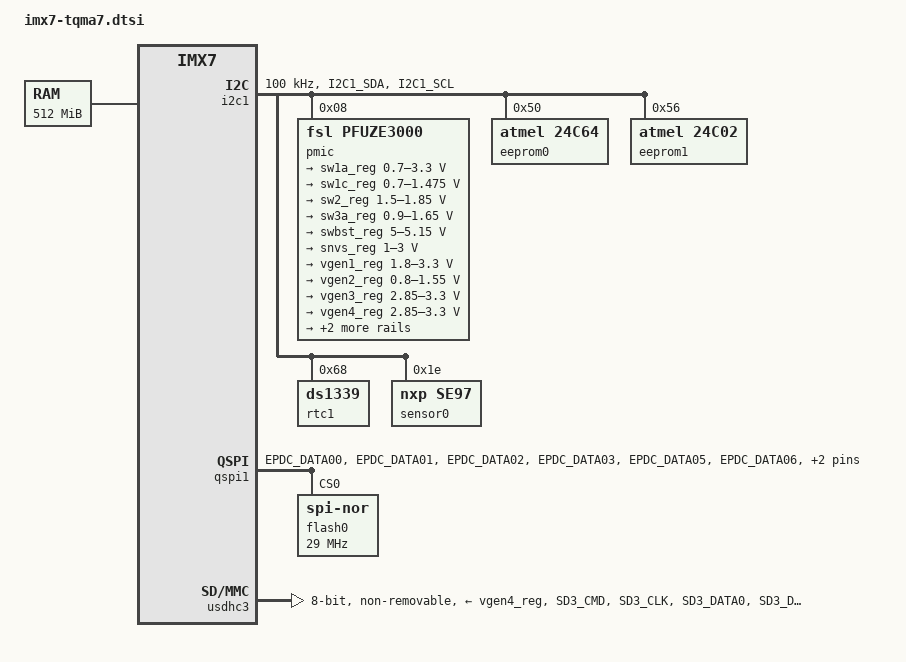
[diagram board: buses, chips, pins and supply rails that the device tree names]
// SPDX-License-Identifier: GPL-2.0+ OR MIT
/*
 * Copyright (C) 2016 - 2019 TQ Systems GmbH
 * Author: Markus Niebel <Markus.Niebel@tq-group.com>
 */

/ {
	memory {
		reg = <0x80000000 0x20000000>;
	};

	reserved-memory {
		/* global autoconfigured region for contiguous allocations */
		linux,cma {
			size = <0x04000000>;
		};
	};
};

&cpu0 {
	arm-supply = <&sw1a_reg>;
};

&i2c1 {
	pinctrl-names = "default";
	pinctrl-0 = <&pinctrl_i2c1>;
	clock-frequency = <100000>;
	status = "okay";

	pmic: pfuze3000@08 {
		pinctrl-names = "default";
		pinctrl-0 = <&pinctrl_pmic1>;
		compatible = "fsl,pfuze3000";
		reg = <0x08>;

		regulators {
			sw1a_reg: sw1a {
				regulator-min-microvolt = <700000>;
				regulator-max-microvolt = <3300000>;
				regulator-boot-on;
				regulator-always-on;
				regulator-ramp-delay = <6250>;
			};

			/* use sw1c_reg to align with pfuze100/pfuze200 */
			sw1c_reg: sw1b {
				regulator-min-microvolt = <700000>;
				regulator-max-microvolt = <1475000>;
				regulator-boot-on;
				regulator-always-on;
				regulator-ramp-delay = <6250>;
			};

			sw2_reg: sw2 {
				regulator-min-microvolt = <1500000>;
				regulator-max-microvolt = <1850000>;
				regulator-boot-on;
				regulator-always-on;
			};

			sw3a_reg: sw3 {
				regulator-min-microvolt = <900000>;
				regulator-max-microvolt = <1650000>;
				regulator-boot-on;
				regulator-always-on;
			};

			swbst_reg: swbst {
				regulator-min-microvolt = <5000000>;
				regulator-max-microvolt = <5150000>;
			};

			snvs_reg: vsnvs {
				regulator-min-microvolt = <1000000>;
				regulator-max-microvolt = <3000000>;
				regulator-boot-on;
				regulator-always-on;
			};

			vref_reg: vrefddr {
				regulator-boot-on;
				regulator-always-on;
			};

			vgen1_reg: vldo1 {
				regulator-min-microvolt = <1800000>;
				regulator-max-microvolt = <3300000>;
				regulator-always-on;
			};

			vgen2_reg: vldo2 {
				regulator-min-microvolt = <800000>;
				regulator-max-microvolt = <1550000>;
				regulator-always-on;
			};

			vgen3_reg: vccsd {
				regulator-min-microvolt = <2850000>;
				regulator-max-microvolt = <3300000>;
				regulator-always-on;
			};

			vgen4_reg: v33 {
				regulator-min-microvolt = <2850000>;
				regulator-max-microvolt = <3300000>;
				regulator-always-on;
			};

			vgen5_reg: vldo3 {
				regulator-min-microvolt = <1800000>;
				regulator-max-microvolt = <3300000>;
				regulator-always-on;
			};

			vgen6_reg: vldo4 {
				regulator-min-microvolt = <1800000>;
				regulator-max-microvolt = <3300000>;
				regulator-always-on;
			};
		};
	};

	eeprom0: m24c64@50 {
		compatible = "atmel,24c64";
		reg = <0x50>;
		pagesize = <32>;
		status = "okay";
	};

	eeprom1: 24c02@56 {
		compatible = "atmel,24c02";
		reg = <0x56>;
		pagesize = <16>;
		status = "okay";
	};

	rtc1: ds1339@68 {
		compatible = "ds1339";
		reg = <0x68>;
	};

	/*
	 * NXP SE97BTP with temperature sensor + eeprom
	 * ATTENTION: do not use correct dt compatible since this will conflict
	 * with hwmon sysfs ABI and break device registration
	 */
	sensor0: jc42@1e {
		compatible = "nxp,se97", "jedec,jc-42.4-temp";
		reg = <0x1e>;
		status = "okay";
	};
};

&iomuxc {
	imx7-tqma7 {
		pinctrl_i2c1: i2c1grp {
			fsl,pins = <
				MX7D_PAD_I2C1_SDA__I2C1_SDA	0x40000078
				MX7D_PAD_I2C1_SCL__I2C1_SCL	0x40000078
			>;
		};

		pinctrl_pmic1: pmic1grp {
			fsl,pins = <
				MX7D_PAD_SD2_RESET_B__GPIO5_IO11	0x4000005C
			>;
		};

		pinctrl_qspi1: qspi1grp {
			fsl,pins = <
				MX7D_PAD_EPDC_DATA00__QSPI_A_DATA0	0x5A
				MX7D_PAD_EPDC_DATA01__QSPI_A_DATA1	0x5A
				MX7D_PAD_EPDC_DATA02__QSPI_A_DATA2	0x5A
				MX7D_PAD_EPDC_DATA03__QSPI_A_DATA3	0x5A
				MX7D_PAD_EPDC_DATA05__QSPI_A_SCLK	0x11
				MX7D_PAD_EPDC_DATA06__QSPI_A_SS0_B	0x54
				MX7D_PAD_EPDC_DATA07__QSPI_A_SS1_B	0x54
				/* #QSPI_RESET */
				MX7D_PAD_EPDC_DATA04__GPIO2_IO4		0x40000052
			>;
		};

		pinctrl_usdhc3: usdhc3grp {
			fsl,pins = <
				MX7D_PAD_SD3_CMD__SD3_CMD		0x59
				MX7D_PAD_SD3_CLK__SD3_CLK		0x56
				MX7D_PAD_SD3_DATA0__SD3_DATA0		0x59
				MX7D_PAD_SD3_DATA1__SD3_DATA1		0x59
				MX7D_PAD_SD3_DATA2__SD3_DATA2		0x59
				MX7D_PAD_SD3_DATA3__SD3_DATA3		0x59
				MX7D_PAD_SD3_DATA4__SD3_DATA4		0x59
				MX7D_PAD_SD3_DATA5__SD3_DATA5		0x59
				MX7D_PAD_SD3_DATA6__SD3_DATA6		0x59
				MX7D_PAD_SD3_DATA7__SD3_DATA7		0x59
				MX7D_PAD_SD3_STROBE__SD3_STROBE		0x19
			>;
		};

		pinctrl_usdhc3_100mhz: usdhc3grp_100mhz {
			fsl,pins = <
				MX7D_PAD_SD3_CMD__SD3_CMD               0x5a
				MX7D_PAD_SD3_CLK__SD3_CLK               0x51
				MX7D_PAD_SD3_DATA0__SD3_DATA0           0x5a
				MX7D_PAD_SD3_DATA1__SD3_DATA1           0x5a
				MX7D_PAD_SD3_DATA2__SD3_DATA2           0x5a
				MX7D_PAD_SD3_DATA3__SD3_DATA3           0x5a
				MX7D_PAD_SD3_DATA4__SD3_DATA4           0x5a
				MX7D_PAD_SD3_DATA5__SD3_DATA5           0x5a
				MX7D_PAD_SD3_DATA6__SD3_DATA6           0x5a
				MX7D_PAD_SD3_DATA7__SD3_DATA7           0x5a
				MX7D_PAD_SD3_STROBE__SD3_STROBE         0x1a
			>;
		};

		pinctrl_usdhc3_200mhz: usdhc3grp_200mhz {
			fsl,pins = <
				MX7D_PAD_SD3_CMD__SD3_CMD               0x5b
				MX7D_PAD_SD3_CLK__SD3_CLK               0x51
				MX7D_PAD_SD3_DATA0__SD3_DATA0           0x5b
				MX7D_PAD_SD3_DATA1__SD3_DATA1           0x5b
				MX7D_PAD_SD3_DATA2__SD3_DATA2           0x5b
				MX7D_PAD_SD3_DATA3__SD3_DATA3           0x5b
				MX7D_PAD_SD3_DATA4__SD3_DATA4           0x5b
				MX7D_PAD_SD3_DATA5__SD3_DATA5           0x5b
				MX7D_PAD_SD3_DATA6__SD3_DATA6           0x5b
				MX7D_PAD_SD3_DATA7__SD3_DATA7           0x5b
				MX7D_PAD_SD3_STROBE__SD3_STROBE         0x1b
			>;
		};
	};
};

&qspi1 {
	pinctrl-names = "default";
	pinctrl-0 = <&pinctrl_qspi1>;
	status = "okay";

	flash0: spinor@0 {
		#address-cells = <1>;
		#size-cells = <1>;
		compatible = "jedec,spi-nor";
		spi-max-frequency = <29000000>;
		reg = <0>;
	};
};

&sdma {
	status = "okay";
};

&usdhc3 {
	pinctrl-names = "default", "state_100mhz", "state_200mhz";
	pinctrl-0 = <&pinctrl_usdhc3>;
	pinctrl-1 = <&pinctrl_usdhc3_100mhz>;
	pinctrl-2 = <&pinctrl_usdhc3_200mhz>;
	assigned-clocks = <&clks IMX7D_USDHC3_ROOT_CLK>;
	assigned-clock-rates = <400000000>;
	bus-width = <8>;
	non-removable;
	vmmc-supply = <&vgen4_reg>;
	vqmmc-supply = <&sw2_reg>;
	status = "okay";
};
